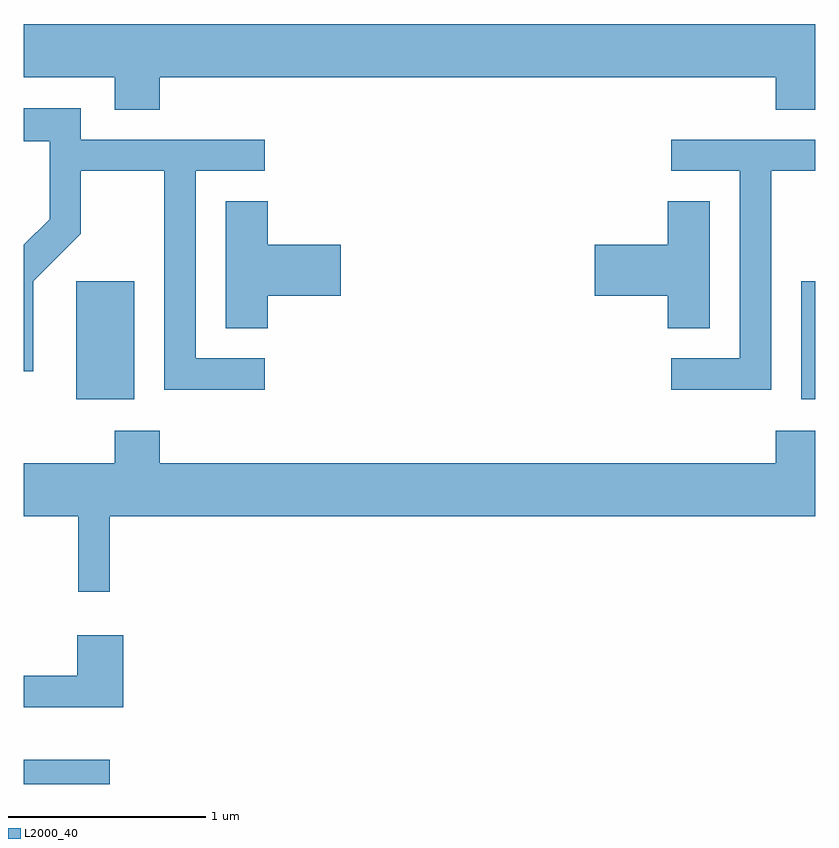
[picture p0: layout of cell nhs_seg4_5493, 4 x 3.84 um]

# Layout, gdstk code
import gdstk
lib = gdstk.Library(unit=1e-6, precision=1e-09)
def R(c, l, rs):  # rectangles x0, y0, x1, y1
    for r in rs: c.add(gdstk.rectangle(r[:2], r[2:], *l))
def P(c, l, *ps):  # polygons
    for p in ps: c.add(gdstk.Polygon(p, *l))
L2000_40 = (2000, 40)

nhs_seg4_5493 = lib.new_cell('nhs_seg4_5493')
R(nhs_seg4_5493, L2000_40, [(345.611,1359.982,346.044,1360.104), (345.876,1361.926,346.169,1362.524), (349.541,1361.926,349.611,1362.524)])
P(nhs_seg4_5493, L2000_40, [(346.299,1363.556),(349.411,1363.556),(349.411,1363.391),(349.611,1363.391),(349.611,1363.824),(345.611,1363.824),(345.611,1363.556),(346.071,1363.556),(346.071,1363.391),(346.299,1363.391)],
  [(346.828,1362.134),(346.479,1362.134),(346.479,1363.081),(346.828,1363.081),(346.828,1363.239),(345.899,1363.239),(345.899,1363.399),(345.611,1363.399),(345.611,1363.231),(345.741,1363.231),(345.741,1362.837),(345.611,1362.707),(345.611,1362.068),(345.659,1362.068),(345.659,1362.524),(345.899,1362.764),(345.899,1363.081),(346.321,1363.081),(346.321,1361.976),(346.828,1361.976)],
  [(349.389,1363.081),(349.611,1363.081),(349.611,1363.239),(348.883,1363.239),(348.883,1363.081),(349.231,1363.081),(349.231,1362.134),(348.883,1362.134),(348.883,1361.976),(349.389,1361.976)],
  [(346.844,1362.451),(347.214,1362.451),(347.214,1362.709),(346.844,1362.709),(346.844,1362.929),(346.631,1362.929),(346.631,1362.286),(346.844,1362.286)],
  [(349.079,1362.929),(348.866,1362.929),(348.866,1362.709),(348.496,1362.709),(348.496,1362.451),(348.866,1362.451),(348.866,1362.286),(349.079,1362.286)],
  [(346.044,1361.336),(349.611,1361.336),(349.611,1361.769),(349.411,1361.769),(349.411,1361.604),(346.299,1361.604),(346.299,1361.769),(346.071,1361.769),(346.071,1361.604),(345.611,1361.604),(345.611,1361.336),(345.886,1361.336),(345.886,1360.953),(346.044,1360.953)],
  [(346.114,1360.734),(345.881,1360.734),(345.881,1360.529),(345.611,1360.529),(345.611,1360.371),(346.114,1360.371)])

lib.write_gds('nhs_seg4_5493.gds')
